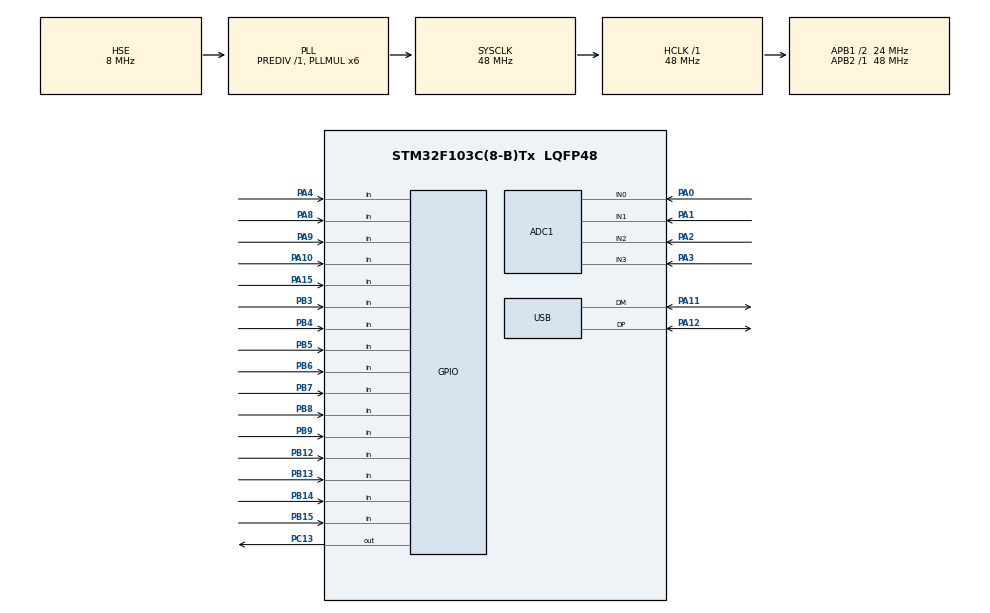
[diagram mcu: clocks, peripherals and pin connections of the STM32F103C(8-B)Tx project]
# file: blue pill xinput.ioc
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ADC1.Channel-0\#ChannelRegularConversion=ADC_CHANNEL_0
ADC1.Channel-1\#ChannelRegularConversion=ADC_CHANNEL_1
ADC1.Channel-2\#ChannelRegularConversion=ADC_CHANNEL_2
ADC1.Channel-3\#ChannelRegularConversion=ADC_CHANNEL_3
ADC1.ContinuousConvMode=ENABLE
ADC1.NbrOfConversion=4
ADC1.NbrOfConversionFlag=1
ADC1.Rank-0\#ChannelRegularConversion=1
ADC1.Rank-1\#ChannelRegularConversion=2
ADC1.Rank-2\#ChannelRegularConversion=3
ADC1.Rank-3\#ChannelRegularConversion=4
ADC1.SamplingTime-0\#ChannelRegularConversion=ADC_SAMPLETIME_239CYCLES_5
ADC1.SamplingTime-1\#ChannelRegularConversion=ADC_SAMPLETIME_239CYCLES_5
ADC1.SamplingTime-2\#ChannelRegularConversion=ADC_SAMPLETIME_239CYCLES_5
ADC1.SamplingTime-3\#ChannelRegularConversion=ADC_SAMPLETIME_239CYCLES_5
ADC1.master=1
Dma.ADC1.0.Direction=DMA_PERIPH_TO_MEMORY
Dma.ADC1.0.Instance=DMA1_Channel1
Dma.ADC1.0.MemDataAlignment=DMA_MDATAALIGN_HALFWORD
Dma.ADC1.0.MemInc=DMA_MINC_ENABLE
Dma.ADC1.0.Mode=DMA_CIRCULAR
Dma.ADC1.0.PeriphDataAlignment=DMA_PDATAALIGN_HALFWORD
Dma.ADC1.0.PeriphInc=DMA_PINC_DISABLE
Dma.ADC1.0.Priority=DMA_PRIORITY_HIGH
Dma.Request0=ADC1
Mcu.Family=STM32F1
Mcu.Name=STM32F103C(8-B)Tx
Mcu.Package=LQFP48
NVIC.ADC1_2_IRQn=true\:0\:0\:false\:false\:true\:true\:true\:true
NVIC.DMA1_Channel1_IRQn=true\:0\:0\:false\:false\:true\:false\:true\:true
NVIC.PriorityGroup=NVIC_PRIORITYGROUP_4
NVIC.TIM2_IRQn=true\:0\:0\:false\:false\:true\:true\:true\:true
NVIC.USB_HP_CAN1_TX_IRQn=true\:0\:0\:false\:false\:true\:true\:true\:true
NVIC.USB_LP_CAN1_RX0_IRQn=true\:0\:0\:false\:false\:true\:true\:true\:true
PA0-WKUP.Signal=ADCx_IN0
PA1.Signal=ADCx_IN1
PA10.GPIO_PuPd=GPIO_PULLUP
PA10.Signal=GPIO_Input
PA11.Mode=Device
PA11.Signal=USB_DM
PA12.Mode=Device
PA12.Signal=USB_DP
PA13.Mode=Serial_Wire
PA13.Signal=SYS_JTMS-SWDIO
PA14.Mode=Serial_Wire
PA14.Signal=SYS_JTCK-SWCLK
PA15.GPIO_PuPd=GPIO_PULLUP
PA15.Signal=GPIO_Input
PA2.Signal=ADCx_IN2
PA3.Signal=ADCx_IN3
PA4.GPIO_PuPd=GPIO_PULLUP
PA4.Signal=GPIO_Input
PA8.GPIO_PuPd=GPIO_PULLUP
PA8.Signal=GPIO_Input
PA9.GPIO_PuPd=GPIO_PULLUP
PA9.Signal=GPIO_Input
PB12.GPIO_PuPd=GPIO_PULLUP
PB12.Signal=GPIO_Input
PB13.GPIO_PuPd=GPIO_PULLUP
PB13.Signal=GPIO_Input
PB14.GPIO_PuPd=GPIO_PULLUP
PB14.Signal=GPIO_Input
PB15.GPIO_PuPd=GPIO_PULLUP
PB15.Signal=GPIO_Input
PB3.GPIO_PuPd=GPIO_PULLUP
PB3.Signal=GPIO_Input
PB4.GPIO_PuPd=GPIO_PULLUP
PB4.Signal=GPIO_Input
PB5.GPIO_PuPd=GPIO_PULLUP
PB5.Signal=GPIO_Input
PB6.GPIO_PuPd=GPIO_PULLUP
PB6.Signal=GPIO_Input
PB7.GPIO_PuPd=GPIO_PULLUP
PB7.Signal=GPIO_Input
PB8.GPIO_PuPd=GPIO_PULLUP
PB8.Signal=GPIO_Input
PB9.GPIO_PuPd=GPIO_PULLUP
PB9.Signal=GPIO_Input
PC13-TAMPER-RTC.Signal=GPIO_Output
PD0-OSC_IN.Mode=HSE-External-Oscillator
PD0-OSC_IN.Signal=RCC_OSC_IN
PD1-OSC_OUT.Mode=HSE-External-Oscillator
PD1-OSC_OUT.Signal=RCC_OSC_OUT
ProjectManager.HeapSize=0x200
ProjectManager.StackSize=0x400
ProjectManager.TargetToolchain=STM32CubeIDE
RCC.ADCPresc=RCC_ADCPCLK2_DIV4
RCC.AHBFreq_Value=48000000
RCC.APB1CLKDivider=RCC_HCLK_DIV2
RCC.APB1Freq_Value=24000000
RCC.APB1TimFreq_Value=48000000
RCC.APB2Freq_Value=48000000
RCC.APB2TimFreq_Value=48000000
RCC.HCLKFreq_Value=48000000
RCC.PLLMUL=RCC_PLL_MUL6
RCC.SYSCLKFreq_VALUE=48000000
RCC.SYSCLKSource=RCC_SYSCLKSOURCE_PLLCLK
RCC.USBFreq_Value=48000000
SH.ADCx_IN0.0=ADC1_IN0,IN0
SH.ADCx_IN1.0=ADC1_IN1,IN1
SH.ADCx_IN2.0=ADC1_IN2,IN2
SH.ADCx_IN3.0=ADC1_IN3,IN3
TIM2.Period=499
TIM2.Prescaler=4799
USB_DEVICE.CLASS_NAME_FS=CUSTOM_HID
USB_DEVICE.VirtualMode=CustomHid
USB_DEVICE.VirtualModeFS=Custom_Hid_FS
VP_TIM2_VS_ClockSourceINT.Mode=Internal
VP_USB_DEVICE_VS_USB_DEVICE_CUSTOM_HID_FS.Mode=CUSTOM_HID_FS
board=custom

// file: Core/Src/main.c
/* USER CODE BEGIN Header */
/**
  ******************************************************************************
  * @file           : main.c
  * @brief          : Main program body
  ******************************************************************************
  * @attention
  *
  * Copyright (c) 2025 STMicroelectronics.
  * All rights reserved.
  *
  * This software is licensed under terms that can be found in the LICENSE file
  * in the root directory of this software component.
  * If no LICENSE file comes with this software, it is provided AS-IS.
  *
  ******************************************************************************
  */
/* USER CODE END Header */
#include "main.h"
#include "stm32f1xx_hal.h"
#include "usb_device.h"
#include "usbd_desc.h"
#include "xinput.h"
#include "stm32_xinput.h"
#include "usb_xinput.h"

ADC_HandleTypeDef hadc1;
DMA_HandleTypeDef hdma_adc1;

TIM_HandleTypeDef htim2;

/* USER CODE BEGIN PV */
uint16_t ADC_buffer[4];
uint32_t x,y,lx,ly;
//uint16_t xRightCenter, yRightCenter, xLeftCenter, yLeftCenter;
int8_t count;
/* USER CODE END PV */

void SystemClock_Config(void);
static void MX_GPIO_Init(void);
static void MX_DMA_Init(void);
static void MX_ADC1_Init(void);
static void MX_TIM2_Init(void);

/* USER CODE BEGIN 0 */
/* USER CODE END PFP */
uint8_t USB_RX_Buffer[8] = {0,0,0,0,0,0,0,0};
uint8_t USB_TX_Buffer[8] = {0,0,0,0,0,0,0,0};

extern uint8_t USBD_CUSTOM_HID_SendReport     (USBD_HandleTypeDef  *pdev,
                                 uint8_t *report,
                                 uint16_t len);

void send_xinput_report(void) {

	// Read and update buttons, dpad and adc handbrake
	readButtons();

	// Potentiometers is used to triggers and sticks

	// Read ADC values
	readAdcValues();

	// Update values of sticks
	updateSticks();

	// Update values of triggres
	updateTriggers();

	// Send commands to PC
	//USBD_LL_Transmit( hUsbDevice_0, XINPUT_TX_ENDPOINT, TXData ,XINPUT_TX_SIZE);
	USBD_CUSTOM_HID_SendReport( &hUsbDeviceFS, TXData, XINPUT_TX_SIZE );

}
/* USER CODE END 0 */

int main(void)
{

  /* MCU Configuration--------------------------------------------------------*/

  /* Reset of all peripherals, Initializes the Flash interface and the Systick. */
  HAL_Init();

  /* Configure the system clock */
  SystemClock_Config();

  /* Initialize all configured peripherals */
  MX_GPIO_Init();
  MX_DMA_Init();
  MX_ADC1_Init();
  MX_TIM2_Init();
  MX_USB_DEVICE_Init();
  /* USER CODE BEGIN 2 */

	HAL_DMA_Init(&hdma_adc1);
	HAL_ADC_Start_DMA( &hadc1, ADC_buffer, 4 );
	HAL_ADC_Start_IT( &hadc1 );

	HAL_TIM_Base_Start_IT(&htim2);

	  while (!adcValueReady);   // wait for first averaged ADC frame

	  xRightCenter = xRightStickValue_ADC;
	  yRightCenter = yRightStickValue_ADC;
	  xLeftCenter = xLeftStickValue_ADC;
	  yLeftCenter = yLeftStickValue_ADC;

	// Declare port and pins
	declareButtonPins();
	declareAnalogPins();
	declareEncoderPins();

  /* USER CODE END 2 */

  /* Infinite loop */
  while (1)
  {
	  send_xinput_report();
  }
}

void SystemClock_Config(void)
{
  RCC_OscInitTypeDef RCC_OscInitStruct = {0};
  RCC_ClkInitTypeDef RCC_ClkInitStruct = {0};
  RCC_PeriphCLKInitTypeDef PeriphClkInit = {0};

  /** Initializes the RCC Oscillators according to the specified parameters
  * in the RCC_OscInitTypeDef structure.
  */
  RCC_OscInitStruct.OscillatorType = RCC_OSCILLATORTYPE_HSE;
  RCC_OscInitStruct.HSEState = RCC_HSE_ON;
  RCC_OscInitStruct.HSEPredivValue = RCC_HSE_PREDIV_DIV1;
  RCC_OscInitStruct.HSIState = RCC_HSI_ON;
  RCC_OscInitStruct.PLL.PLLState = RCC_PLL_ON;
  RCC_OscInitStruct.PLL.PLLSource = RCC_PLLSOURCE_HSE;
  RCC_OscInitStruct.PLL.PLLMUL = RCC_PLL_MUL6;
  if (HAL_RCC_OscConfig(&RCC_OscInitStruct) != HAL_OK)
  {
    Error_Handler();
  }

  /** Initializes the CPU, AHB and APB buses clocks
  */
  RCC_ClkInitStruct.ClockType = RCC_CLOCKTYPE_HCLK|RCC_CLOCKTYPE_SYSCLK
                              |RCC_CLOCKTYPE_PCLK1|RCC_CLOCKTYPE_PCLK2;
  RCC_ClkInitStruct.SYSCLKSource = RCC_SYSCLKSOURCE_PLLCLK;
  RCC_ClkInitStruct.AHBCLKDivider = RCC_SYSCLK_DIV1;
  RCC_ClkInitStruct.APB1CLKDivider = RCC_HCLK_DIV2;
  RCC_ClkInitStruct.APB2CLKDivider = RCC_HCLK_DIV1;

  if (HAL_RCC_ClockConfig(&RCC_ClkInitStruct, FLASH_LATENCY_1) != HAL_OK)
  {
    Error_Handler();
  }
  PeriphClkInit.PeriphClockSelection = RCC_PERIPHCLK_ADC|RCC_PERIPHCLK_USB;
  PeriphClkInit.AdcClockSelection = RCC_ADCPCLK2_DIV4;
  PeriphClkInit.UsbClockSelection = RCC_USBCLKSOURCE_PLL;
  if (HAL_RCCEx_PeriphCLKConfig(&PeriphClkInit) != HAL_OK)
  {
    Error_Handler();
  }
}

static void MX_ADC1_Init(void)
{

  ADC_ChannelConfTypeDef sConfig = {0};

  /** Common config
  */
  hadc1.Instance = ADC1;
  hadc1.Init.ScanConvMode = ADC_SCAN_ENABLE;
  hadc1.Init.ContinuousConvMode = ENABLE;
  hadc1.Init.DiscontinuousConvMode = DISABLE;
  hadc1.Init.ExternalTrigConv = ADC_SOFTWARE_START;
  hadc1.Init.DataAlign = ADC_DATAALIGN_RIGHT;
  hadc1.Init.NbrOfConversion = 4;
  if (HAL_ADC_Init(&hadc1) != HAL_OK)
  {
    Error_Handler();
  }

  /** Configure Regular Channel
  */
  sConfig.Channel = ADC_CHANNEL_0;
  sConfig.Rank = ADC_REGULAR_RANK_1;
  sConfig.SamplingTime = ADC_SAMPLETIME_239CYCLES_5;
  if (HAL_ADC_ConfigChannel(&hadc1, &sConfig) != HAL_OK)
  {
    Error_Handler();
  }

  /** Configure Regular Channel
  */
  sConfig.Channel = ADC_CHANNEL_1;
  sConfig.Rank = ADC_REGULAR_RANK_2;
  if (HAL_ADC_ConfigChannel(&hadc1, &sConfig) != HAL_OK)
  {
    Error_Handler();
  }

  /** Configure Regular Channel
  */
  sConfig.Channel = ADC_CHANNEL_2;
  sConfig.Rank = ADC_REGULAR_RANK_3;
  if (HAL_ADC_ConfigChannel(&hadc1, &sConfig) != HAL_OK)
  {
    Error_Handler();
  }

  /** Configure Regular Channel
  */
  sConfig.Channel = ADC_CHANNEL_3;
  sConfig.Rank = ADC_REGULAR_RANK_4;
  if (HAL_ADC_ConfigChannel(&hadc1, &sConfig) != HAL_OK)
  {
    Error_Handler();
  }

}

static void MX_TIM2_Init(void)
{

  TIM_ClockConfigTypeDef sClockSourceConfig = {0};
  TIM_MasterConfigTypeDef sMasterConfig = {0};

  htim2.Instance = TIM2;
  htim2.Init.Prescaler = 4799;
  htim2.Init.CounterMode = TIM_COUNTERMODE_UP;
  htim2.Init.Period = 4999;
  htim2.Init.ClockDivision = TIM_CLOCKDIVISION_DIV1;
  htim2.Init.AutoReloadPreload = TIM_AUTORELOAD_PRELOAD_DISABLE;
  if (HAL_TIM_Base_Init(&htim2) != HAL_OK)
  {
    Error_Handler();
  }
  sClockSourceConfig.ClockSource = TIM_CLOCKSOURCE_INTERNAL;
  if (HAL_TIM_ConfigClockSource(&htim2, &sClockSourceConfig) != HAL_OK)
  {
    Error_Handler();
  }
  sMasterConfig.MasterOutputTrigger = TIM_TRGO_RESET;
  sMasterConfig.MasterSlaveMode = TIM_MASTERSLAVEMODE_DISABLE;
  if (HAL_TIMEx_MasterConfigSynchronization(&htim2, &sMasterConfig) != HAL_OK)
  {
    Error_Handler();
  }

}

void HAL_TIM_PeriodElapsedCallback(TIM_HandleTypeDef *htim)
{
    if (htim->Instance == TIM2)
    {
        HAL_GPIO_TogglePin(GPIOC, GPIO_PIN_13); // or your LED pin
    }
}

static void MX_DMA_Init(void)
{

  /* DMA controller clock enable */
  __HAL_RCC_DMA1_CLK_ENABLE();

  /* DMA interrupt init */
  /* DMA1_Channel1_IRQn interrupt configuration */
  HAL_NVIC_SetPriority(DMA1_Channel1_IRQn, 0, 0);
  HAL_NVIC_EnableIRQ(DMA1_Channel1_IRQn);

}

static void MX_GPIO_Init(void)
{
  GPIO_InitTypeDef GPIO_InitStruct = {0};

  /* GPIO Ports Clock Enable */
  __HAL_RCC_GPIOC_CLK_ENABLE();
  __HAL_RCC_GPIOD_CLK_ENABLE();
  __HAL_RCC_GPIOA_CLK_ENABLE();
  __HAL_RCC_GPIOB_CLK_ENABLE();

  /*Configure GPIO pin Output Level */
  HAL_GPIO_WritePin(GPIOC, GPIO_PIN_13, GPIO_PIN_RESET);

  /*Configure GPIO pin : PC13 */
  GPIO_InitStruct.Pin = GPIO_PIN_13;
  GPIO_InitStruct.Mode = GPIO_MODE_OUTPUT_PP;
  GPIO_InitStruct.Pull = GPIO_NOPULL;
  GPIO_InitStruct.Speed = GPIO_SPEED_FREQ_LOW;
  HAL_GPIO_Init(GPIOC, &GPIO_InitStruct);
  HAL_GPIO_WritePin(GPIOC, GPIO_PIN_13, GPIO_PIN_SET);

  /*Configure GPIO pins : PA4 PA8 PA9 PA10
                           PA15 */
  GPIO_InitStruct.Pin = GPIO_PIN_4|GPIO_PIN_8|GPIO_PIN_9|GPIO_PIN_10
                          |GPIO_PIN_15;
  GPIO_InitStruct.Mode = GPIO_MODE_INPUT;
  GPIO_InitStruct.Pull = GPIO_PULLUP;
  HAL_GPIO_Init(GPIOA, &GPIO_InitStruct);

  /*Configure GPIO pins : PB12 PB13 PB14 PB15
                           PB3 PB4 PB5 PB6
                           PB7 PB8 PB9 */
  GPIO_InitStruct.Pin = GPIO_PIN_12|GPIO_PIN_13|GPIO_PIN_14|GPIO_PIN_15
                          |GPIO_PIN_3|GPIO_PIN_4|GPIO_PIN_5|GPIO_PIN_6
                          |GPIO_PIN_7|GPIO_PIN_8|GPIO_PIN_9;
  GPIO_InitStruct.Mode = GPIO_MODE_INPUT;
  GPIO_InitStruct.Pull = GPIO_PULLUP;
  HAL_GPIO_Init(GPIOB, &GPIO_InitStruct);

}

void Error_Handler(void)
{
  __disable_irq();
  while (1)
  {
  }
}

void HAL_GPIO_EXTI_Callback(uint16_t GPIO_Pin){
	/* Handls encoder of the x360 racing wheel
	if( GPIO_Pin ==  encoderPins[0].pin ){
		if( HAL_GPIO_ReadPin( encoderPins[1].port, encoderPins[1].pin ) == SET ){
			wheelEncoderValue++;
		}else{
			wheelEncoderValue--;
		}
	}
	*/
}

/**	ADC ISR
*		Handles the values from ADC after the conversion finished
*/
void HAL_ADC_ConvCpltCallback(ADC_HandleTypeDef* hadc){

	if( adcValueReady == 0 ){

		x	+= ADC_buffer[0];
		y	+= ADC_buffer[1];
		lx	+= ADC_buffer[2];
		ly	+= ADC_buffer[3];

		count++;
	}

	if (count == 100) {

		xRightStickValue_ADC	= x/100;
		yRightStickValue_ADC	= y/100;
		xLeftStickValue_ADC		= lx/100;
		yLeftStickValue_ADC		= ly/100;

        x = 0;
        y = 0;
        lx = 0;
        ly = 0;
        count = 0;
        adcValueReady = 1;
	}
}
